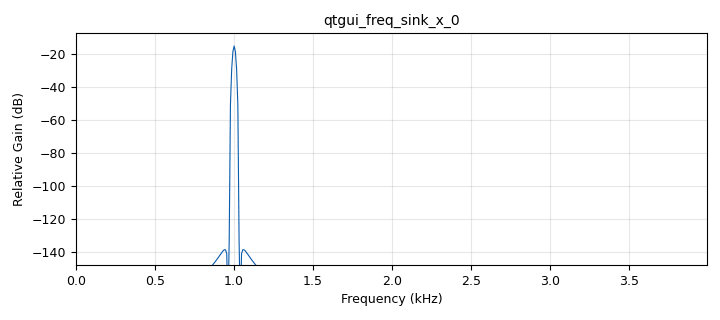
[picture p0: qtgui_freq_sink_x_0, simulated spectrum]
<?xml version='1.0' encoding='utf-8'?>
<?grc format='1' created='3.7.10'?>
<flow_graph>
<block>
<key>options</key>
<param><key>id</key><value>top_block</value></param>
<param><key>generate_options</key><value>qt_gui</value></param>
</block>
<block>
<key>variable</key>
<param><key>id</key><value>samp_rate</value></param>
<param><key>value</key><value>32000</value></param>
</block>
<block>
<key>analog_sig_source_x</key>
<param><key>id</key><value>analog_sig_source_x_0</value></param>
<param><key>amp</key><value>1</value></param>
<param><key>freq</key><value>1000</value></param>
<param><key>offset</key><value>0</value></param>
<param><key>type</key><value>float</value></param>
<param><key>samp_rate</key><value>8000</value></param>
<param><key>waveform</key><value>analog.GR_SIN_WAVE</value></param>
</block>
<block>
<key>blocks_null_sink</key>
<param><key>id</key><value>blocks_null_sink_0</value></param>
<param><key>bus_conns</key><value>[[0,],]</value></param>
<param><key>type</key><value>float</value></param>
</block>
<block>
<key>digital_ofdm_carrier_allocator_cvc</key>
<param><key>id</key><value>digital_ofdm_carrier_allocator_cvc_0</value></param>
<param><key>fft_len</key><value>fft_len</value></param>
<param><key>len_tag_key</key><value>"packet_len"</value></param>
<param><key>pilot_carriers</key><value>()</value></param>
<param><key>pilot_symbols</key><value>()</value></param>
<param><key>sync_words</key><value>()</value></param>
</block>
<block>
<key>qtgui_freq_sink_x</key>
<param><key>id</key><value>qtgui_freq_sink_x_0</value></param>
<param><key>autoscale</key><value>True</value></param>
<param><key>bw</key><value>8000</value></param>
<param><key>fc</key><value>0</value></param>
<param><key>fftsize</key><value>1024</value></param>
<param><key>grid</key><value>True</value></param>
<param><key>showports</key><value>True</value></param>
<param><key>freqhalf</key><value>False</value></param>
<param><key>type</key><value>float</value></param>
<param><key>wintype</key><value>firdes.WIN_BLACKMAN_hARRIS</value></param>
</block>
<connection><source_block_id>analog_sig_source_x_0</source_block_id><sink_block_id>blocks_null_sink_0</sink_block_id><source_key>0</source_key><sink_key>0</sink_key></connection>
<connection><source_block_id>analog_sig_source_x_0</source_block_id><sink_block_id>qtgui_freq_sink_x_0</sink_block_id><source_key>0</source_key><sink_key>0</sink_key></connection>
</flow_graph>
